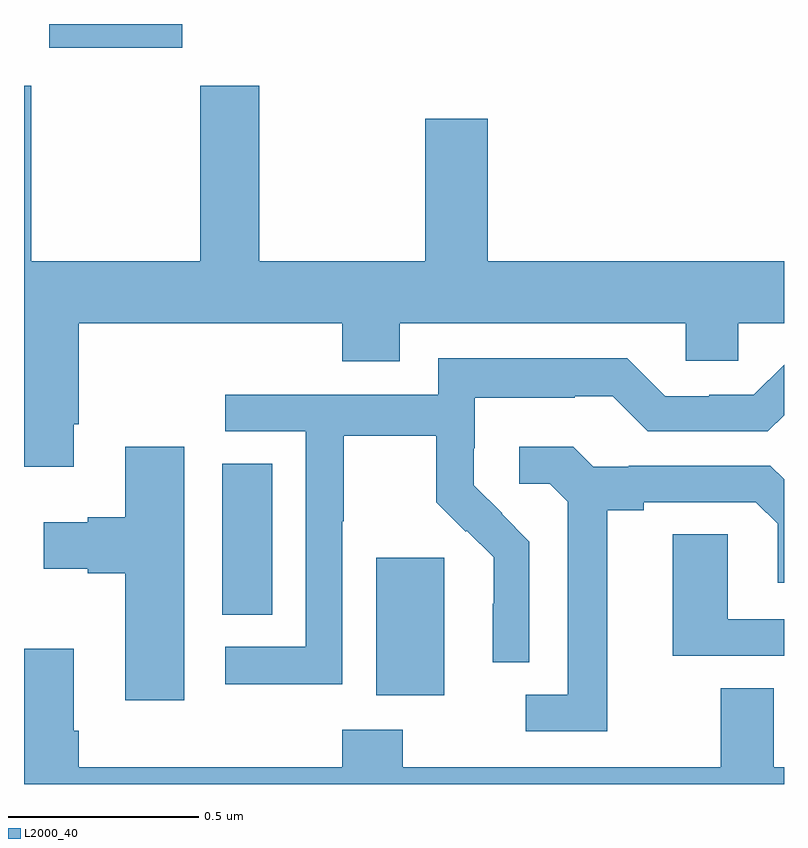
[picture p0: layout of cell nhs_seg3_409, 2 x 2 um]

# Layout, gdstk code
import gdstk
lib = gdstk.Library(unit=1e-6, precision=1e-09)
def R(c, l, rs):  # rectangles x0, y0, x1, y1
    for r in rs: c.add(gdstk.rectangle(r[:2], r[2:], *l))
def P(c, l, *ps):  # polygons
    for p in ps: c.add(gdstk.Polygon(p, *l))
L2000_40 = (2000, 40)

nhs_seg3_409 = lib.new_cell('nhs_seg3_409')
R(nhs_seg3_409, L2000_40, [(116.927,670.634,117.106,670.995), (116.522,670.846,116.653,671.243), (116.066,672.338,116.416,672.4)])
P(nhs_seg3_409, L2000_40, [(116.131,671.347),(116.144,671.347),(116.144,671.612),(116.837,671.612),(116.837,671.513),(116.989,671.513),(116.989,671.612),(117.741,671.612),(117.741,671.514),(117.879,671.514),(117.879,671.612),(118,671.612),(118,671.776),(117.22,671.776),(117.22,672.151),(117.056,672.151),(117.056,671.776),(116.619,671.776),(116.619,672.238),(116.464,672.238),(116.464,671.776),(116.019,671.776),(116.019,672.238),(116,672.238),(116,671.235),(116.131,671.235)],
  [(116.838,671.092),(116.841,671.092),(116.841,671.316),(117.085,671.316),(117.085,671.141),(117.162,671.064),(117.165,671.067),(117.236,670.997),(117.236,670.874),(117.234,670.874),(117.234,670.72),(117.33,670.72),(117.33,671.038),(117.257,671.111),(117.258,671.112),(117.184,671.186),(117.184,671.283),(117.186,671.283),(117.186,671.417),(117.449,671.417),(117.449,671.421),(117.549,671.421),(117.642,671.328),(117.957,671.328),(118,671.371),(118,671.503),(117.921,671.424),(117.803,671.424),(117.803,671.421),(117.687,671.421),(117.587,671.521),(117.09,671.521),(117.09,671.424),(116.529,671.424),(116.529,671.328),(116.742,671.328),(116.742,670.761),(116.529,670.761),(116.529,670.663),(116.838,670.663)],
  [(117.535,671.12),(117.631,671.12),(117.631,671.142),(117.926,671.142),(117.983,671.085),(117.983,670.929),(118,670.929),(118,671.202),(117.964,671.238),(117.592,671.238),(117.592,671.235),(117.498,671.235),(117.446,671.287),(117.303,671.287),(117.303,671.19),(117.384,671.19),(117.431,671.143),(117.431,670.635),(117.321,670.635),(117.321,670.539),(117.535,670.539)],
  [(116.422,671.287),(116.267,671.287),(116.267,671.102),(116.168,671.102),(116.168,671.089),(116.052,671.089),(116.052,670.967),(116.168,670.967),(116.168,670.955),(116.267,670.955),(116.267,670.62),(116.422,670.62)],
  [(118,670.833),(117.852,670.833),(117.852,671.057),(117.707,671.057),(117.707,670.737),(118,670.737)],
  [(118,670.444),(117.973,670.444),(117.973,670.652),(117.833,670.652),(117.833,670.444),(116.997,670.444),(116.997,670.543),(116.837,670.543),(116.837,670.444),(116.144,670.444),(116.144,670.54),(116.131,670.54),(116.131,670.756),(116,670.756),(116,670.4),(118,670.4)])

lib.write_gds('nhs_seg3_409.gds')
